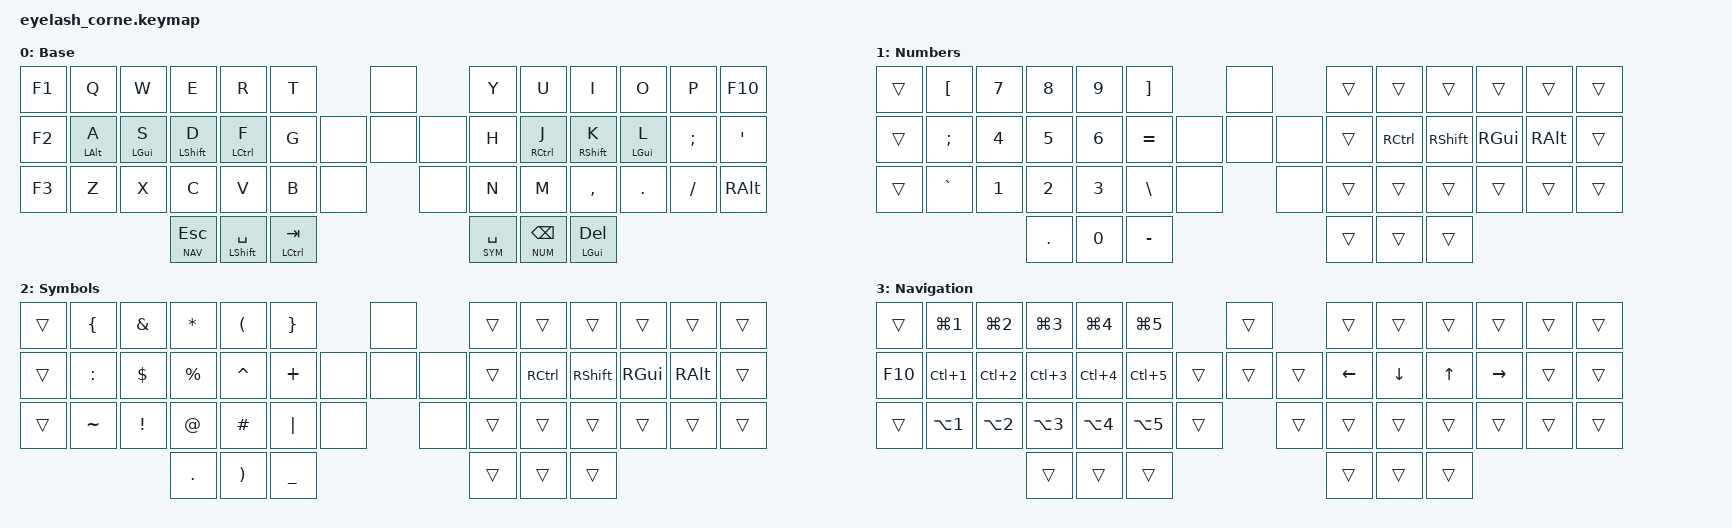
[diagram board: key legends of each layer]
#define ZMK_POINTING_DEFAULT_MOVE_VAL 1200  // 600
#define ZMK_POINTING_DEFAULT_SCRL_VAL 25   // 10

#include <input/processors.dtsi>
#include <zephyr/dt-bindings/input/input-event-codes.h>
#include <behaviors.dtsi>

#include <dt-bindings/zmk/bt.h>
#include <dt-bindings/zmk/keys.h>
#include <dt-bindings/zmk/outputs.h>
#include <dt-bindings/zmk/pointing.h>
#include <dt-bindings/zmk/rgb.h>

#include "zmk-helpers/helper.h"
#include "eyelash_corne/keymap.h"
#include "zmk-helpers/unicode-chars/french.dtsi"

#define BASE 0
#define NUM 1
#define SYM 2
#define NAV 3
#define FRENCH  4

#define KEYS_L LT0 LT1 LT2 LT3 LT4 LM0 LM1 LM2 LM3 LM4 LB0 LB1 LB2 LB3 LB4  // left hand
#define KEYS_R RT0 RT1 RT2 RT3 RT4 RM0 RM1 RM2 RM3 RM4 RB0 RB1 RB2 RB3 RB4  // right hand
#define THUMBS LH2 LH1 LH0 RH0 RH1 RH2   // thumbs

#define QUICK_TAP_MS 175

ZMK_HOLD_TAP(hml,
  flavor = "balanced";
  tapping-term-ms = <200>;
  require-prior-idle-ms = <QUICK_TAP_MS>;
  hold-trigger-key-positions = <KEYS_R THUMBS>;
  hold-trigger-on-release;
  bindings = <&kp>, <&kp>;
  )

ZMK_HOLD_TAP(hmr,
  flavor = "balanced";
  tapping-term-ms = <200>;
  require-prior-idle-ms = <QUICK_TAP_MS>;
  hold-trigger-key-positions = <KEYS_L THUMBS>;
  hold-trigger-on-release;
  bindings = <&kp>, <&kp>;
  )

&mmv_input_listener { input-processors = <&zip_xy_scaler 2 1>; };

&msc_input_listener { input-processors = <&zip_scroll_scaler 2 1>; };

&msc {
  acceleration-exponent = <1>;      // 0
  time-to-max-speed-ms = <100>;     // 300
  delay-ms = <0>;                   // 0
};

&mmv {
  time-to-max-speed-ms = <500>;
  acceleration-exponent = <1>;
  trigger-period-ms = <16>;
};

&lt {
  tapping-term-ms = <200>;
  flavor = "balanced";
};

/ {
  behaviors {
    td0: td0 {
      compatible = "zmk,behavior-tap-dance";
      display-name = "Shift/Caps Lock Tap Dance";
      #binding-cells = <0>;
      bindings = <&kp LEFT_SHIFT>, <&kp CAPS>;
    };

  };

  rgb_encoder: rgb_encoder {
    compatible = "zmk,behavior-sensor-rotate";
    #sensor-binding-cells = <0>;
    bindings = <&rgb_ug RGB_BRI>, <&rgb_ug RGB_BRD>;
  };

  scroll_encoder: scroll_encoder {
    compatible = "zmk,behavior-sensor-rotate";
    #sensor-binding-cells = <0>;
    bindings = <&msc SCRL_DOWN>, <&msc SCRL_UP>;

    tap-ms = <100>;
  };

  combos {
    compatible = "zmk,combos";

    enter {
      require-prior-idle-ms = <75>;
      bindings = <&kp RET>;
      key-positions = <RM2 RM3>;
    };
  };

  keymap {
    compatible = "zmk,keymap";

    BASE {
      display-name = "Base";
      bindings = <
        &kp F1  &kp Q         &kp W         &kp E         &kp R             &kp T          &none          &kp Y         &kp U           &kp I         &kp O         &kp P      &kp F10
        &kp F2  &hml LALT A   &hml LGUI S   &hml LSHIFT D &hml LCTRL F      &kp G    &none &none &none    &kp H         &hmr RCTRL J    &hmr RSHIFT K &hmr LGUI L   &kp SEMI   &kp SQT
        &kp F3  &kp Z         &kp X         &kp C         &kp V             &kp B         &none  &none    &kp N         &kp M           &kp COMMA     &kp DOT       &kp FSLH   &kp RALT
                                            &lt NAV ESC   &hml LSHIFT SPACE &hml LCTRL TAB                &lt SYM SPACE &lt NUM BSPC    &hmr LGUI DEL
      >;
    };

    NUM {
      display-name = "Numbers";
      bindings = <
        &trans    &kp LBKT    &kp N7    &kp N8    &kp N9    &kp RBKT               &none          &trans    &trans      &trans      &trans    &trans    &trans
        &trans    &kp SEMI    &kp N4    &kp N5    &kp N6    &kp EQUAL        &none &none &none    &trans    &kp RCTRL   &kp RSHIFT  &kp RGUI  &kp RALT  &trans
        &trans    &kp GRAVE   &kp N1    &kp N2    &kp N3    &kp BSLH        &none  &none          &trans    &trans      &trans      &trans    &trans    &trans
                                        &kp DOT   &kp N0    &kp MINUS                             &trans    &trans      &trans
      >;
    };

    SYM {
      display-name = "Symbols";
      bindings = <
        &trans    &kp LBRC    &kp AMPS    &kp STAR    &kp LPAR    &kp RBRC         &none          &trans    &trans      &trans      &trans    &trans    &trans
        &trans    &kp COLON   &kp DLLR    &kp PRCNT   &kp CARET   &kp PLUS   &none &none &none    &trans    &kp RCTRL   &kp RSHIFT  &kp RGUI  &kp RALT  &trans
        &trans    &kp TILDE   &kp EXCL    &kp AT      &kp HASH    &kp PIPE  &none  &none          &trans    &trans      &trans      &trans    &trans    &trans
                                          &kp DOT     &kp RPAR    &kp UNDER &trans    &trans      &trans
      >;
    };

    NAV {
      display-name = "Navigation";
      bindings = <
        &trans    &kp LG(N1)  &kp LG(N2)  &kp LG(N3)  &kp LG(N4)  &kp LG(N5)          &trans          &trans    &trans    &trans        &trans     &trans   &trans
        &kp F10   &kp LC(N1)  &kp LC(N2)  &kp LC(N3)  &kp LC(N4)  &kp LC(N5)  &trans  &trans  &trans  &kp LEFT  &kp DOWN  &kp UP_ARROW  &kp RIGHT  &trans   &trans
        &trans    &kp LA(N1)  &kp LA(N2)  &kp LA(N3)  &kp LA(N4)  &kp LA(N5)  &trans  &trans          &trans    &trans    &trans        &trans     &trans   &trans
                                          &trans      &trans      &trans                              &trans    &trans    &trans
      >;
    };
  };
};
